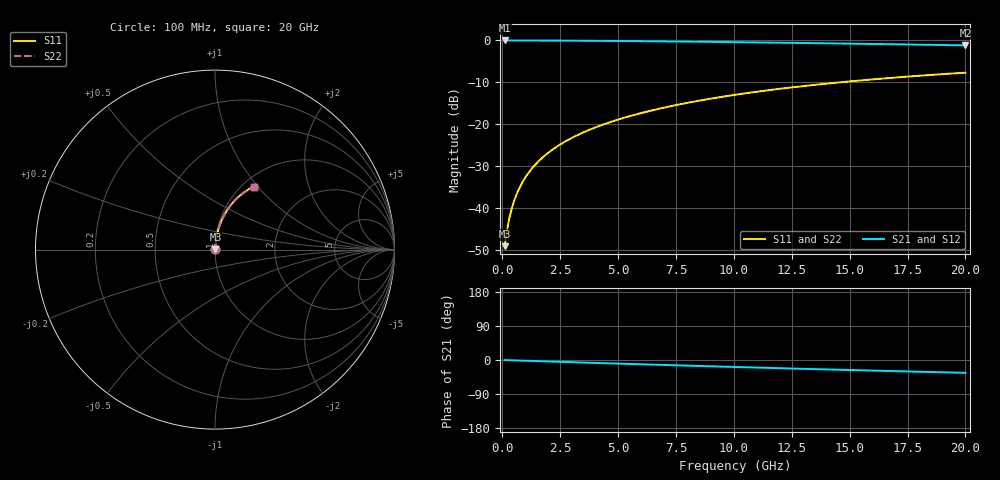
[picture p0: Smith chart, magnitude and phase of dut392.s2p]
! Touchstone file exported from HFSS 2024.1.0
!  File:  C:/UserFiles/LocalFiles/RDL_TSV_Batchsim/temp_RDL_top_392_1779609830.aedt
!  Generated:  04:06:19 PM May 24, 2026
!  Design:  RDL_top
!  Project:  temp_RDL_top_392_1779609830
!  Setup:  Setup1
!  Solution:  Sweep
! Variables:
!  dtsv = 10.80580581um
!  hbump = 3um
!  htsv = 63.92um
!  ldown = 100um
!  lrdl = 401.39um
!  p = 40
!  p1 = 55.47um
!  rhole = 1um
!  t = 450um
!  tdown = 3.915915916um
!  trdl = 4.71um
!  wdown = 15.38538539um
!  wrdl = 11.92um
# GHz S MA R 50.000000
! Terminal data exported
! Port[1] = Box2_T1
! Port[2] = Box2_T2
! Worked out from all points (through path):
!   200 points, 100 MHz to 20 GHz, reference 50 ohm
!   highest |S21| = -0.02 dB at 100 MHz (marker M1); lowest = -1.2 dB at 20 GHz (marker M2)
!   group delay of S21, straight-line fit = 4.69 ps
!   lowest |S11| = -49.1 dB at 100 MHz (marker M3), VSWR 1.01, Z = 50.3 + j0.236 ohm
!   |S11| at or under -10 dB: start of sweep to 14.6 GHz
!   |S22| runs from -49.1 to -7.7 dB; largest |S21 - S12| = 2.7e-15
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0.1  0.003509 42.0  0.9974 -0.2  0.9974 -0.2  0.003509 42.0
! Gamma 0 0 0 0
! Port Impedance 50 0 50 0
0.2  0.005362 60.8  0.9973 -0.4  0.9973 -0.4  0.005362 60.8
0.3  0.007482 69.4  0.9973 -0.6  0.9973 -0.6  0.007482 69.4
0.4  0.009689 74.0  0.9972 -0.8  0.9972 -0.8  0.009689 74.0
0.5  0.01193 76.8  0.9971 -1.0  0.9971 -1.0  0.01193 76.8
0.6  0.01419 78.6  0.997 -1.2  0.997 -1.2  0.0142 78.6
0.8  0.01874 80.7  0.9967 -1.6  0.9967 -1.6  0.01874 80.7
1.1  0.02557 82.2  0.9964 -2.2  0.9964 -2.2  0.02557 82.2
1.5  0.03467 83.0  0.9957 -2.9  0.9957 -2.9  0.03467 83.0
1.8  0.04147 83.2  0.9951 -3.5  0.9951 -3.5  0.04147 83.2
2.1  0.04826 83.2  0.9944 -4.1  0.9944 -4.1  0.04826 83.2
2.7  0.06181 83.0  0.9928 -5.2  0.9928 -5.2  0.06181 83.0
3.5  0.07984 82.3  0.99 -6.8  0.99 -6.8  0.07984 82.3
4.2  0.09558 81.5  0.9872 -8.1  0.9872 -8.1  0.09558 81.5
5  0.1135 80.6  0.9835 -9.6  0.9835 -9.6  0.1135 80.6
5.9  0.1336 79.4  0.9788 -11.2  0.9788 -11.2  0.1336 79.4
6.8  0.1536 78.1  0.9737 -12.8  0.9737 -12.8  0.1536 78.1
8.3  0.1865 76.0  0.9644 -15.5  0.9644 -15.5  0.1865 76.0
10.1  0.2251 73.3  0.9521 -18.5  0.9521 -18.5  0.2251 73.3
13.4  0.2928 68.2  0.9272 -23.9  0.9272 -23.9  0.2928 68.2
16.7  0.3553 63.3  0.9001 -29.0  0.9001 -29.0  0.3553 63.3
20  0.4118 58.5  0.8717 -33.8  0.8717 -33.8  0.4118 58.5
